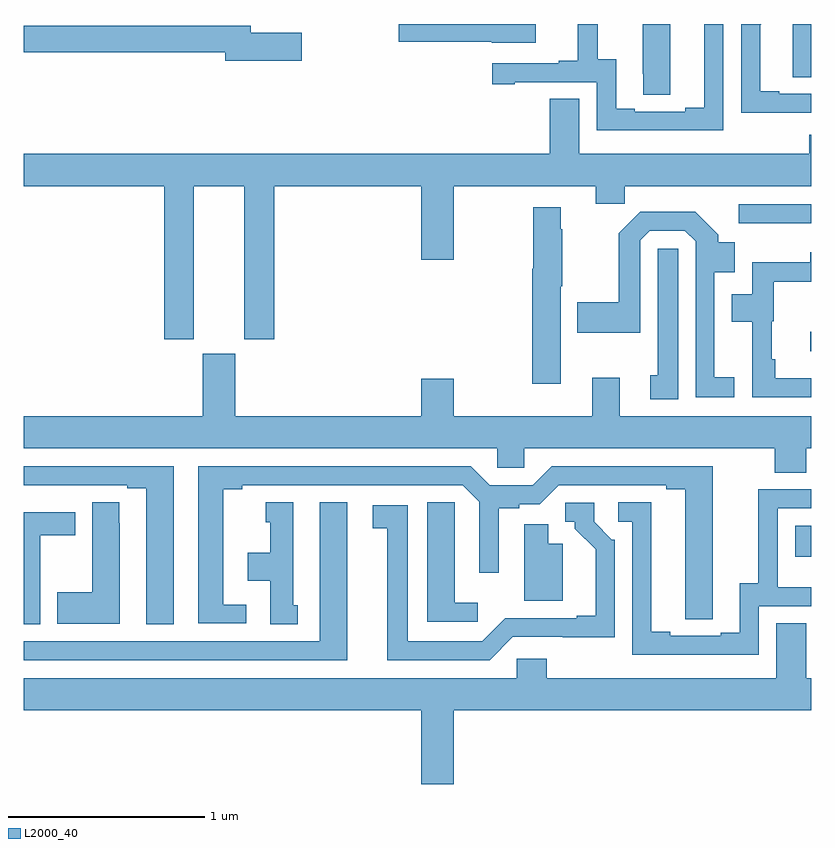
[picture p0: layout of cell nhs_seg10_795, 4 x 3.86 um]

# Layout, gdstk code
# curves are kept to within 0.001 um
import gdstk
lib = gdstk.Library(unit=1e-6, precision=1e-09)
def R(c, l, rs):  # rectangles x0, y0, x1, y1
    for r in rs: c.add(gdstk.rectangle(r[:2], r[2:], *l))
def P(c, l, *ps):  # polygons
    for p in ps: c.add(gdstk.Polygon(p, *l))
L2000_40 = (2000, 40)

nhs_seg10_795 = lib.new_cell('nhs_seg10_795')
R(nhs_seg10_795, L2000_40, [(154.92,1271.792,155,1271.95), (154.995,1272.836,155,1272.936), (154.632,1273.487,155,1273.584), (154.907,1274.23,155,1274.5)])
P(nhs_seg10_795, L2000_40, [(153.601,1274.5),(152.904,1274.5),(152.904,1274.411),(153.378,1274.411),(153.378,1274.405),(153.601,1274.405)],
  [(154.285,1274.5),(154.145,1274.5),(154.145,1274.248),(154.146,1274.248),(154.146,1274.14),(154.285,1274.14)],
  [(154.907,1274.049),(155,1274.049),(155,1274.145),(154.837,1274.145),(154.837,1274.158),(154.741,1274.158),(154.741,1274.494),(154.747,1274.5),(154.644,1274.5),(154.644,1274.048),(154.907,1274.048)],
  [(154.554,1274.5),(154.457,1274.5),(154.457,1274.075),(154.361,1274.075),(154.361,1274.055),(154.105,1274.055),(154.105,1274.07),(154.009,1274.07),(154.009,1274.321),(153.915,1274.321),(153.915,1274.5),(153.815,1274.5),(153.815,1274.314),(153.719,1274.314),(153.719,1274.301),(153.381,1274.301),(153.381,1274.193),(153.493,1274.193),(153.493,1274.205),(153.912,1274.205),(153.912,1273.959),(154.554,1273.959)],
  [(152.413,1274.456),(152.152,1274.456),(152.152,1274.492),(151,1274.492),(151,1274.356),(152.024,1274.356),(152.024,1274.314),(152.413,1274.314)],
  [(151.864,1273.676),(152.12,1273.676),(152.12,1272.897),(152.273,1272.897),(152.273,1273.676),(153.02,1273.676),(153.02,1273.302),(153.184,1273.302),(153.184,1273.676),(153.905,1273.676),(153.905,1273.586),(154.052,1273.586),(154.052,1273.676),(155,1273.676),(155,1273.938),(154.991,1273.938),(154.991,1273.84),(153.823,1273.84),(153.823,1274.12),(153.671,1274.12),(153.671,1273.84),(151,1273.84),(151,1273.676),(151.712,1273.676),(151.712,1272.897),(151.864,1272.897)],
  [(153.727,1273.168),(153.735,1273.168),(153.735,1273.457),(153.727,1273.457),(153.727,1273.57),(153.589,1273.57),(153.589,1273.257),(153.584,1273.257),(153.584,1272.672),(153.727,1272.672)],
  [(154.609,1272.704),(154.509,1272.704),(154.509,1273.238),(154.612,1273.238),(154.612,1273.39),(154.529,1273.39),(154.529,1273.429),(154.412,1273.546),(154.132,1273.546),(154.023,1273.436),(154.023,1273.085),(153.812,1273.085),(153.812,1272.932),(154.131,1272.932),(154.131,1273.401),(154.179,1273.449),(154.359,1273.449),(154.413,1273.395),(154.413,1272.603),(154.609,1272.603)],
  [(154.324,1273.359),(154.22,1273.359),(154.22,1272.714),(154.184,1272.714),(154.184,1272.594),(154.324,1272.594)],
  [(155,1272.7),(154.817,1272.7),(154.817,1272.796),(154.799,1272.796),(154.799,1272.99),(154.81,1272.99),(154.81,1273.19),(155,1273.19),(155,1273.339),(154.997,1273.339),(154.997,1273.289),(154.701,1273.289),(154.701,1273.126),(154.598,1273.126),(154.598,1272.986),(154.701,1272.986),(154.701,1272.603),(155,1272.603)],
  [(154.976,1272.344),(155,1272.344),(155,1272.508),(154.027,1272.508),(154.027,1272.703),(153.887,1272.703),(153.887,1272.508),(153.184,1272.508),(153.184,1272.697),(153.02,1272.697),(153.02,1272.508),(152.074,1272.508),(152.074,1272.825),(151.91,1272.825),(151.91,1272.508),(151,1272.508),(151,1272.344),(153.405,1272.344),(153.405,1272.246),(153.543,1272.246),(153.543,1272.344),(154.816,1272.344),(154.816,1272.22),(154.976,1272.22)],
  [(152.131,1271.55),(152.014,1271.55),(152.014,1272.136),(152.11,1272.136),(152.11,1272.156),(153.231,1272.156),(153.315,1272.072),(153.315,1271.712),(153.412,1271.712),(153.412,1272.04),(153.516,1272.04),(153.516,1272.06),(153.621,1272.06),(153.717,1272.156),(154.265,1272.156),(154.265,1272.136),(154.361,1272.136),(154.361,1271.476),(154.5,1271.476),(154.501,1272.252),(153.681,1272.252),(153.585,1272.156),(153.367,1272.156),(153.271,1272.252),(151.886,1272.252),(151.886,1271.454),(152.131,1271.454)],
  [(151.762,1272.252),(151,1272.252),(151,1272.156),(151.084,1272.156),(151.084,1272.155),(151.25,1272.155),(151.25,1272.156),(151.526,1272.156),(151.526,1272.141),(151.622,1272.141),(151.622,1271.449),(151.762,1271.449)],
  [(154.734,1271.541),(155,1271.541),(155,1271.637),(154.832,1271.637),(154.832,1271.638),(154.83,1271.638),(154.83,1272.039),(155,1272.039),(155,1272.135),(154.732,1272.135),(154.732,1271.657),(154.637,1271.657),(154.637,1271.406),(154.541,1271.406),(154.541,1271.391),(154.285,1271.391),(154.285,1271.411),(154.189,1271.411),(154.189,1272.071),(154.02,1272.071),(154.02,1271.97),(154.092,1271.97),(154.092,1271.295),(154.734,1271.295)],
  [(151.486,1271.963),(151.485,1271.963),(151.485,1272.071),(151.346,1272.071),(151.346,1271.613),(151.169,1271.613),(151.169,1271.453),(151.486,1271.453)],
  [(153.307,1271.56),(153.19,1271.56),(153.19,1271.963),(153.189,1271.963),(153.189,1272.071),(153.05,1272.071),(153.05,1271.463),(153.307,1271.463)],
  [(152.392,1271.547),(152.368,1271.547),(152.368,1272.07),(152.228,1272.07),(152.228,1271.967),(152.252,1271.967),(152.252,1271.812),(152.138,1271.812),(152.138,1271.672),(152.252,1271.672),(152.252,1271.449),(152.392,1271.449)],
  [(152.644,1272.07),(152.504,1272.07),(152.504,1271.364),(151,1271.364),(151,1271.268),(152.644,1271.268)],
  [(153.483,1271.385),(154.002,1271.384),(154.002,1271.88),(153.987,1271.88),(153.897,1271.97),(153.897,1272.066),(153.75,1272.066),(153.75,1271.97),(153.8,1271.97),(153.8,1271.935),(153.905,1271.83),(153.905,1271.494),(153.809,1271.494),(153.809,1271.481),(153.447,1271.481),(153.33,1271.364),(152.95,1271.364),(152.95,1272.054),(152.772,1272.054),(152.772,1271.938),(152.846,1271.938),(152.846,1271.268),(153.366,1271.268)],
  [(151.084,1271.902),(151.261,1271.902),(151.261,1272.018),(151,1272.018),(151,1271.449),(151.084,1271.449)],
  [(153.739,1271.86),(153.664,1271.86),(153.664,1271.959),(153.542,1271.959),(153.542,1271.57),(153.739,1271.57)],
  [(153.184,1271.012),(155,1271.012),(155,1271.176),(154.976,1271.176),(154.976,1271.456),(154.823,1271.456),(154.823,1271.176),(153.656,1271.176),(153.656,1271.274),(153.504,1271.274),(153.504,1271.176),(151,1271.176),(151,1271.012),(153.02,1271.012),(153.02,1270.638),(153.184,1270.638)])

lib.write_gds('nhs_seg10_795.gds')
